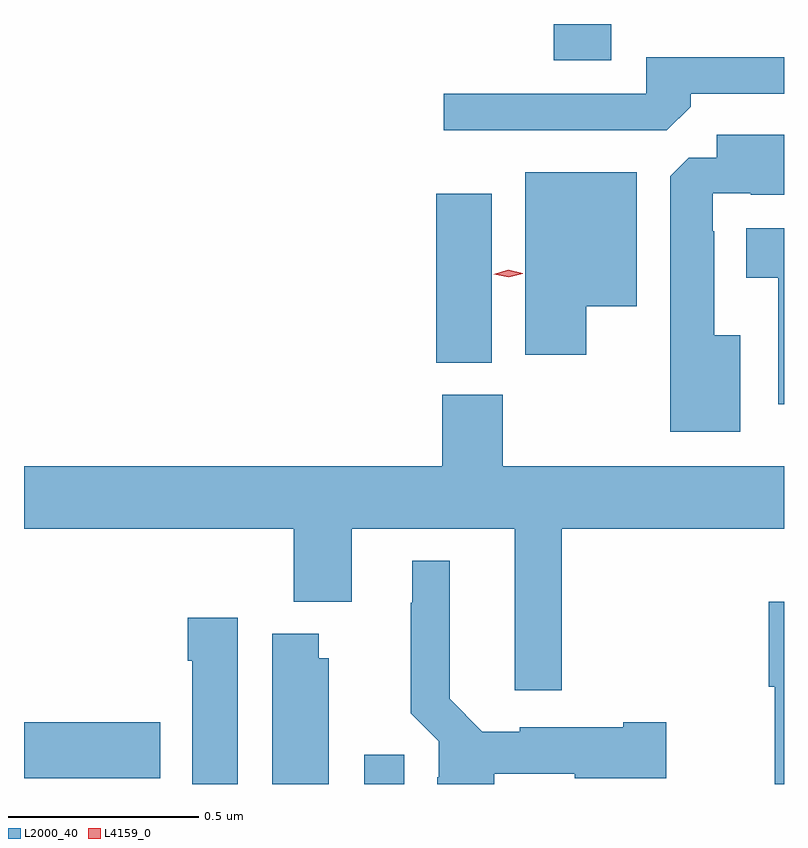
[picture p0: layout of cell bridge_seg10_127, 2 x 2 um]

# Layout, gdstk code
import gdstk
lib = gdstk.Library(unit=1e-6, precision=1e-09)
def R(c, l, rs):  # rectangles x0, y0, x1, y1
    for r in rs: c.add(gdstk.rectangle(r[:2], r[2:], *l))
def P(c, l, *ps):  # polygons
    for p in ps: c.add(gdstk.Polygon(p, *l))
L2000_40 = (2000, 40)
L4159_0 = (4159, 0)

bridge_seg10_127 = lib.new_cell('bridge_seg10_127')
R(bridge_seg10_127, L2000_40, [(373.397,1283.66,373.501,1283.737), (372.501,1283.675,372.859,1283.822), (373.586,1284.769,373.732,1285.213), (373.895,1285.565,374.047,1285.66)])
P(bridge_seg10_127, L2000_40, [(374.255,1285.442),(374.255,1285.476),(374.501,1285.476),(374.501,1285.572),(374.139,1285.572),(374.139,1285.476),(373.605,1285.476),(373.605,1285.38),(374.193,1285.38)],
  [(374.386,1284.841),(374.317,1284.841),(374.317,1285.115),(374.313,1285.115),(374.313,1285.215),(374.413,1285.215),(374.413,1285.211),(374.501,1285.211),(374.501,1285.369),(374.324,1285.369),(374.324,1285.308),(374.25,1285.308),(374.201,1285.259),(374.201,1284.587),(374.386,1284.587)],
  [(373.981,1284.917),(374.113,1284.917),(374.113,1285.27),(373.82,1285.27),(373.82,1284.789),(373.981,1284.789)],
  [(374.501,1285.123),(374.402,1285.123),(374.402,1284.992),(374.486,1284.992),(374.486,1284.66),(374.501,1284.66)],
  [(373.916,1284.332),(374.501,1284.332),(374.501,1284.496),(373.761,1284.496),(373.761,1284.684),(373.601,1284.684),(373.601,1284.496),(372.501,1284.496),(372.501,1284.332),(373.211,1284.332),(373.211,1284.14),(373.363,1284.14),(373.363,1284.332),(373.793,1284.332),(373.793,1283.907),(373.916,1283.907)],
  [(373.739,1283.687),(373.95,1283.687),(373.95,1283.675),(374.191,1283.675),(374.191,1283.822),(374.078,1283.822),(374.078,1283.809),(373.806,1283.809),(373.806,1283.797),(373.707,1283.797),(373.621,1283.884),(373.621,1284.247),(373.523,1284.247),(373.523,1284.137),(373.519,1284.137),(373.519,1283.846),(373.593,1283.772),(373.593,1283.678),(373.589,1283.678),(373.589,1283.66),(373.739,1283.66)],
  [(374.501,1284.139),(374.461,1284.139),(374.461,1283.916),(374.476,1283.916),(374.476,1283.66),(374.501,1283.66)],
  [(373.063,1284.097),(372.932,1284.097),(372.932,1283.984),(372.944,1283.984),(372.944,1283.66),(373.063,1283.66)],
  [(373.303,1283.991),(373.276,1283.991),(373.276,1284.055),(373.154,1284.055),(373.154,1283.66),(373.303,1283.66)])
P(bridge_seg10_127, L4159_0, [(373.776,1284.993),(373.737,1285.002),(373.737,1285.002),(373.737,1285.002),(373.775,1285.013),(373.814,1285.004),(373.814,1285.004),(373.814,1285.003)])

lib.write_gds('bridge_seg10_127.gds')
